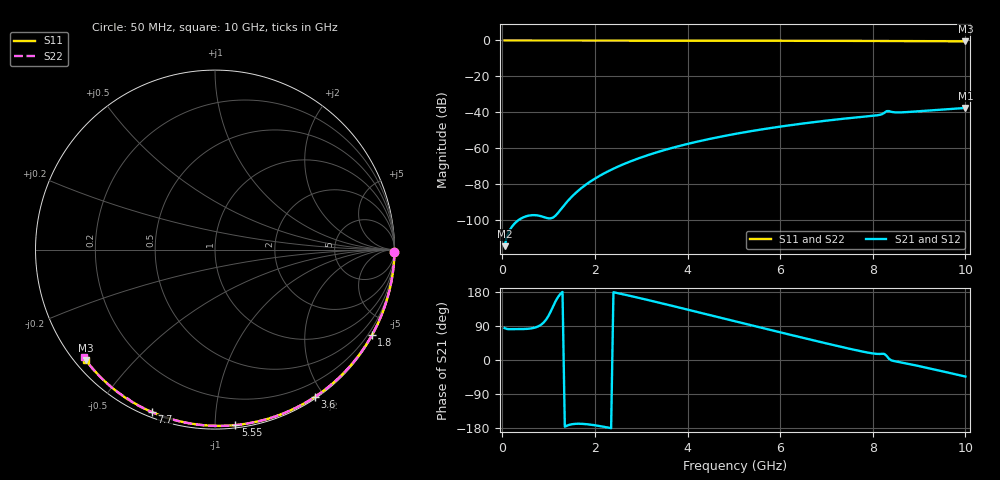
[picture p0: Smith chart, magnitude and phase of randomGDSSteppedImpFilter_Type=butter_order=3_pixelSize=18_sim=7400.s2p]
! freq	dB(S11)	phase(S11)	dB(S12)	phase(S12)
!  dB(S21)	phase(S21)	dB(S22)	phase(S22)
!S-par simulation data
#  GHz  S  DB  R 50
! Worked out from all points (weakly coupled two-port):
!   200 points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, 50 MHz to 10 GHz, reference 50 ohm
!   highest |S21| = -37.63 dB at 10 GHz (marker M1); lowest = -114.7 dB at 50 MHz (marker M2)
!   lowest |S11| = -0.5 dB at 10 GHz (marker M3), VSWR 36.94, Z = 1.54 - j18.5 ohm
!   |S11| at or under -10 dB: nowhere
!   |S22| runs from -0.5 to 0.0 dB; largest |S21 - S12| = 0
!   S11 on the Smith chart (normalised r, x): 50 MHz: open; 1.8 GHz: 0.03, -3.92; 3.6 GHz: 0.02, -1.88; 5.55 GHz: 0.02, -1.12; 7.7 GHz: 0.02, -0.68; 10 GHz: 0.03, -0.37
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0.05  -0.00 -0.8  -114.67 84.2  -114.67 84.2  -0.00 -0.8
0.9  -0.02 -14.5  -98.47 99.8  -98.47 99.8  -0.02 -14.6
1.75  -0.04 -27.9  -81.44 -168.7  -81.44 -168.7  -0.04 -28.1
1.8  -0.04 -28.7  -80.47 -169.2  -80.47 -169.2  -0.04 -28.9
1.85  -0.04 -29.4  -79.55 -169.8  -79.55 -169.8  -0.04 -29.7
2.25  -0.05 -35.6  -73.38 -177.5  -73.38 -177.5  -0.05 -35.9
2.55  -0.05 -40.2  -69.72 174.9  -69.72 174.9  -0.05 -40.6
2.95  -0.06 -46.3  -65.65 163.9  -65.65 163.9  -0.06 -46.7
3.4  -0.07 -53.0  -61.85 150.9  -61.85 150.9  -0.07 -53.5
3.6  -0.08 -55.9  -60.37 145.0  -60.37 145.0  -0.08 -56.4
4.3  -0.09 -66.0  -55.88 124.0  -55.88 124.0  -0.09 -66.6
5.05  -0.12 -76.6  -52.00 101.4  -52.00 101.4  -0.12 -77.2
5.55  -0.14 -83.4  -49.80 86.5  -49.80 86.5  -0.14 -84.1
6.7  -0.19 -98.5  -45.62 52.4  -45.62 52.4  -0.19 -99.4
7.7  -0.26 -111.2  -42.76 24.2  -42.76 24.2  -0.26 -112.2
8.15  -0.29 -116.8  -41.47 16.0  -41.47 16.0  -0.29 -117.9
8.2  -0.30 -117.4  -41.09 16.3  -41.09 16.3  -0.30 -118.6
8.3  -0.30 -118.6  -39.41 10.9  -39.41 10.9  -0.33 -119.8
8.35  -0.30 -119.2  -39.38 3.1  -39.38 3.1  -0.34 -120.3
8.45  -0.31 -120.5  -40.00 -2.5  -40.00 -2.5  -0.33 -121.5
8.65  -0.33 -122.9  -40.05 -7.1  -40.05 -7.1  -0.34 -124.0
10  -0.47 -139.3  -37.63 -43.6  -37.63 -43.6  -0.48 -140.6
